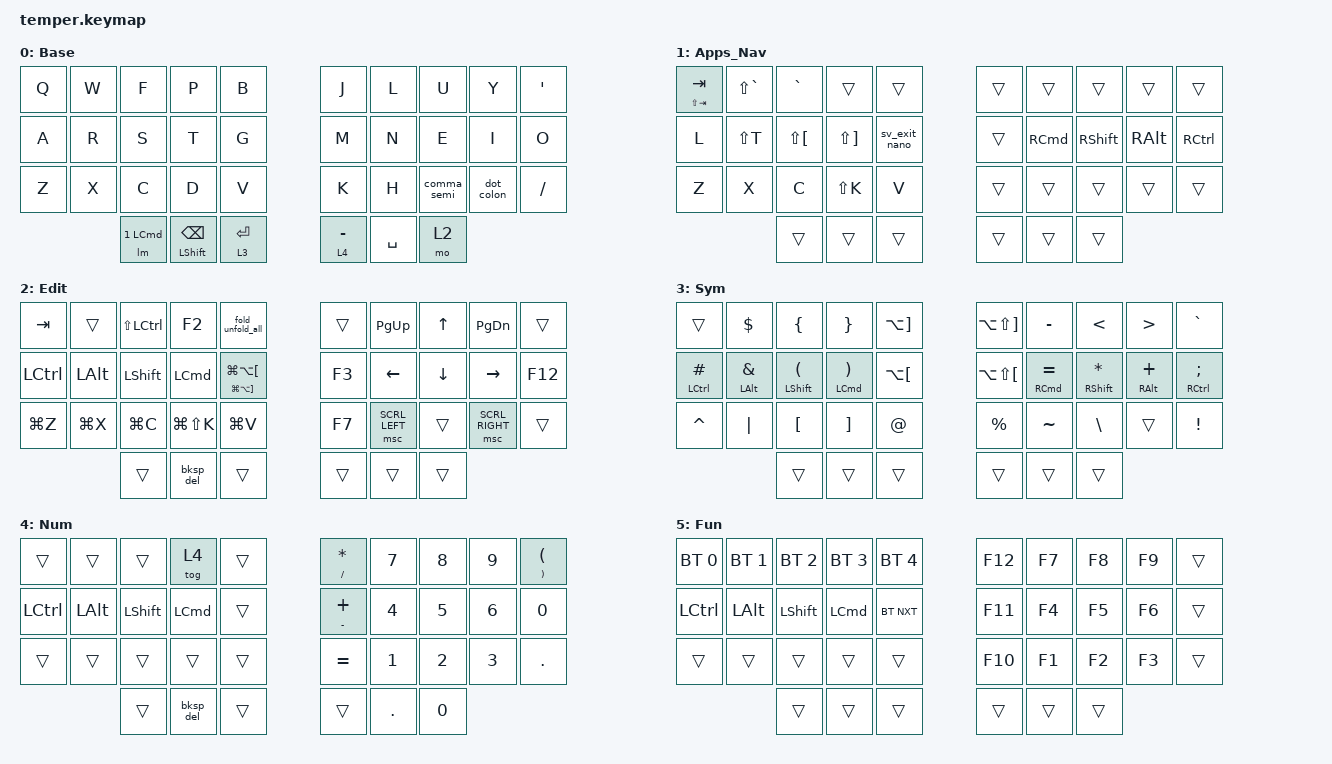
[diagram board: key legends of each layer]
/*
 * Copyright (c) 2020 The ZMK Contributors
 *
 * SPDX-License-Identifier: MIT
 */

#include <behaviors.dtsi>
#include <dt-bindings/zmk/bt.h>
#include <dt-bindings/zmk/keys.h>
#include <dt-bindings/zmk/pointing.h>

#define DEFAULT 0
#define SHRTCT 1
#define NUM 2
#define NAV 3
#define FUN 4

&lt { flavor = "hold-preferred"; };

/ {
    combos {
        compatible = "zmk,combos";

        // DEFAULT LAYER COMBOS
        // Left Side Combos
        // Modifier Combos

        combo_esc {
            timeout-ms = <50>;
            key-positions = <0 1>;
            bindings = <&kp ESC>;
            layers = <0>;
        };

        combo_left_cmd {
            timeout-ms = <50>;
            key-positions = <22 23>;
            bindings = <&kp LCMD>;
            layers = <0>;
        };

        combo_left_alt {
            timeout-ms = <50>;
            key-positions = <21 22>;
            bindings = <&kp LALT>;
            layers = <0>;
        };

        combo_left_ctrl {
            timeout-ms = <50>;
            key-positions = <20 21>;
            bindings = <&kp LCTRL>;
            layers = <0>;
        };

        combo_left_cmd_alt {
            timeout-ms = <50>;
            key-positions = <21 22 23>;
            bindings = <&kp LG(LALT)>;
            layers = <0>;
        };

        combo_left_cmd_ctrl {
            timeout-ms = <50>;
            key-positions = <20 22 23>;
            bindings = <&kp LG(LCTRL)>;
            layers = <0>;
        };

        combo_left_alt_ctrl {
            timeout-ms = <50>;
            key-positions = <20 21 22>;
            bindings = <&kp LC(LALT)>;
            layers = <0>;
        };

        combo_left_cmd_alt_ctrl {
            timeout-ms = <50>;
            key-positions = <20 21 22 23>;
            bindings = <&kp LG(LA(LCTRL))>;
            layers = <0>;
        };

        // Right Side Combos
        // Modifier Combos

        combo_right_cmd {
            timeout-ms = <50>;
            key-positions = <26 27>;
            bindings = <&kp RCMD>;
            layers = <0>;
        };

        combo_right_alt {
            timeout-ms = <50>;
            key-positions = <27 28>;
            bindings = <&kp RALT>;
            layers = <0>;
        };

        combo_right_ctrl {
            timeout-ms = <50>;
            key-positions = <28 29>;
            bindings = <&kp RCTRL>;
            layers = <0>;
        };

        combo_right_cmd_alt {
            timeout-ms = <50>;
            key-positions = <26 27 28>;
            bindings = <&kp RG(RALT)>;
            layers = <0>;
        };

        combo_right_cmd_ctrl {
            timeout-ms = <50>;
            key-positions = <26 27 29>;
            bindings = <&kp RG(RCTRL)>;
            layers = <0>;
        };

        combo_right_alt_ctrl {
            timeout-ms = <50>;
            key-positions = <27 28 29>;
            bindings = <&kp RC(RALT)>;
            layers = <0>;
        };

        combo_right_cmd_alt_ctrl {
            timeout-ms = <50>;
            key-positions = <26 27 28 29 26 27 28 29>;
            bindings = <&kp RG(RA(RCTRL))>;
            layers = <0>;
        };

        caps_word {
            bindings = <&caps_word>;
            key-positions = <1 2>;
        };

        up_arrw {
            bindings = <&kp UP>;
            key-positions = <6 7 8>;
        };

        dn_arrw {
            bindings = <&kp DOWN>;
            key-positions = <18 17 16>;
        };

        // Keypress Combos
    };

    macros {
        // Layer-Mod: Enables a layer with a modifier held

        lm: lm {
            compatible = "zmk,behavior-macro-two-param";
            wait-ms = <0>;
            tap-ms = <0>;
            #binding-cells = <2>;
            bindings =
                <&macro_param_1to1>,
                <&macro_press>,
                <&mo MACRO_PLACEHOLDER &macro_param_2to1>,
                <&macro_press>,
                <&kp MACRO_PLACEHOLDER>,
                <&macro_pause_for_release>,
                <&macro_param_2to1>,
                <&macro_release>,
                <&kp MACRO_PLACEHOLDER &macro_param_1to1>,
                <&macro_release>,
                <&mo MACRO_PLACEHOLDER>;
        };

        sv_exit_nano: sv_exit_nano {
            compatible = "zmk,behavior-macro";
            #binding-cells = <0>;
            bindings = <&kp LC(O) &kp RET &kp LC(X)>;
            label = "SV_EXIT_NANO";
            wait-ms = <40>;
            tap-ms = <40>;
        };

        fold_all: fold_all {
            compatible = "zmk,behavior-macro";
            #binding-cells = <0>;
            bindings = <&kp LG(K) &kp LG(N0)>;
            label = "FOLD_ALL";
            wait-ms = <40>;
            tap-ms = <40>;
        };

        unfold_all: unfold_all {
            compatible = "zmk,behavior-macro";
            #binding-cells = <0>;
            bindings = <&kp LG(K) &kp LG(J)>;
            label = "UNFOLD_ALL";
        };
    };

    behaviors {
        bksp_del: bksp_del {
            compatible = "zmk,behavior-mod-morph";
            label = "BKSP_DEL";
            bindings = <&kp BACKSPACE>, <&kp DEL>;

            #binding-cells = <0>;
            mods = <(MOD_LSFT)>;
        };

        fold_unfold_all: fold_unfold_all {
            compatible = "zmk,behavior-tap-dance";
            label = "FOLD_UNFOLD_ALL";
            #binding-cells = <0>;
            bindings = <&fold_all>, <&unfold_all>;

            tapping-term-ms = <200>;
        };

        comma_semi: comma_semi {
            compatible = "zmk,behavior-mod-morph";
            label = "COMMA_SEMI";
            bindings = <&kp COMMA>, <&kp SEMI>;

            #binding-cells = <0>;
            mods = <(MOD_LSFT|MOD_RSFT)>;
        };

        dot_colon: dot_colon {
            compatible = "zmk,behavior-mod-morph";
            label = "DOT_COLON";
            bindings = <&kp DOT>, <&kp COLON>;

            #binding-cells = <0>;
            mods = <(MOD_LSFT|MOD_RSFT)>;
        };

        hml: hml {
            compatible = "zmk,behavior-hold-tap";
            label = "HML";
            bindings = <&kp>, <&kp>;

            #binding-cells = <2>;
            tapping-term-ms = <280>;
            quick-tap-ms = <175>;
            require-prior-idle-ms = <150>;
            flavor = "balanced";
            hold-trigger-key-positions = <5 8 7 9 18 17 19 29 27 16 6 26 25 15 33 34 35 28>;
            hold-trigger-on-release;
            hold-while-undecided;
        };

        hmr: hmr {
            compatible = "zmk,behavior-hold-tap";
            label = "HMR";
            bindings = <&kp>, <&kp>;

            #binding-cells = <2>;
            tapping-term-ms = <280>;
            quick-tap-ms = <175>;
            require-prior-idle-ms = <150>;
            flavor = "balanced";
            hold-trigger-on-release;
            hold-while-undecided;
            hold-trigger-key-positions = <0 1 2 13 4 3 14 11 22 10 12 20 21 24 23 30 31 32>;
        };
    };

    keymap {
        compatible = "zmk,keymap";

        Base {
            bindings = <
  &kp Q  &kp W  &kp F       &kp P           &kp B        &kp J        &kp L      &kp U        &kp Y       &kp APOS
  &kp A  &kp R  &kp S       &kp T           &kp G        &kp M        &kp N      &kp E        &kp I       &kp O
  &kp Z  &kp X  &kp C       &kp D           &kp V        &kp K        &kp H      &comma_semi  &dot_colon  &kp FSLH
                &lm 1 LCMD  &mt LSHFT BSPC  &lt 3 RET    &lt 4 MINUS  &kp SPACE  &mo 2
            >;

            label = "Base";
        };

        Apps_Nav {
            bindings = <
  &mt LS(TAB) TAB  &kp LS(GRAVE)  &kp GRAVE     &trans        &trans           &trans  &trans    &trans     &trans    &trans
  &kp L            &kp LS(T)      &kp LS(LBKT)  &kp LS(RBKT)  &sv_exit_nano    &trans  &kp RCMD  &kp RSHFT  &kp RALT  &kp RCTRL
  &kp Z            &kp X          &kp C         &kp LS(K)     &kp V            &trans  &trans    &trans     &trans    &trans
                                  &trans        &trans        &trans           &trans  &trans    &trans
            >;

            label = "Apps_Nav";
        };

        Edit {
            bindings = <
  &kp TAB    &trans     &kp LS(LCTRL)  &kp F2         &fold_unfold_all                 &trans  &kp PG_UP       &kp UP    &kp PG_DN        &trans
  &kp LCTRL  &kp LALT   &kp LSHFT      &kp LCMD       &mt LG(LA(RBKT)) LG(LA(LBKT))    &kp F3  &kp LEFT        &kp DOWN  &kp RIGHT        &kp F12
  &kp LG(Z)  &kp LG(X)  &kp LG(C)      &kp LG(LS(K))  &kp LG(V)                        &kp F7  &msc SCRL_LEFT  &trans    &msc SCRL_RIGHT  &trans
                        &trans         &bksp_del      &trans                           &trans  &trans          &trans
            >;

            label = "Edit";
        };

        Sym {
            bindings = <
  &trans           &kp DOLLAR      &kp LEFT_BRACE   &kp RIGHT_BRACE  &kp LA(RBKT)    &kp LA(LS(RBKT))  &kp MINUS        &kp LESS_THAN    &kp GREATER_THAN  &kp GRAVE
  &hml LCTRL HASH  &hml LALT AMPS  &hml LSHFT LPAR  &hml LCMD RPAR   &kp LA(LBKT)    &kp LA(LS(LBKT))  &hmr RCMD EQUAL  &hmr RSHFT STAR  &hmr RALT PLUS    &hmr RCTRL SEMI
  &kp CARET        &kp PIPE        &kp LBKT         &kp RBKT         &kp AT          &kp PERCENT       &kp TILDE        &kp BSLH         &trans            &kp EXCL
                                   &trans           &trans           &trans          &trans            &trans           &trans
            >;

            label = "Sym";
        };

        Num {
            bindings = <
  &trans     &trans    &trans     &tog 4     &trans    &mt FSLH STAR   &kp N7   &kp N8  &kp N9  &mt RPAR LPAR
  &kp LCTRL  &kp LALT  &kp LSHFT  &kp LCMD   &trans    &mt MINUS PLUS  &kp N4   &kp N5  &kp N6  &kp N0
  &trans     &trans    &trans     &trans     &trans    &kp EQUAL       &kp N1   &kp N2  &kp N3  &kp DOT
                       &trans     &bksp_del  &trans    &trans          &kp DOT  &kp N0
            >;

            label = "Num";
        };

        Fun {
            bindings = <
  &bt BT_SEL 0  &bt BT_SEL 1  &bt BT_SEL 2  &bt BT_SEL 3  &bt BT_SEL 4    &kp F12  &kp F7  &kp F8  &kp F9  &trans
  &kp LCTRL     &kp LALT      &kp LSHFT     &kp LCMD      &bt BT_NXT      &kp F11  &kp F4  &kp F5  &kp F6  &trans
  &trans        &trans        &trans        &trans        &trans          &kp F10  &kp F1  &kp F2  &kp F3  &trans
                              &trans        &trans        &trans          &trans   &trans  &trans
            >;

            label = "Fun";
        };
    };

    conditional_layers {
        compatible = "zmk,conditional-layers";

        Fun {
            if-layers = <4 3>;
            then-layer = <5>;
        };
    };
};
